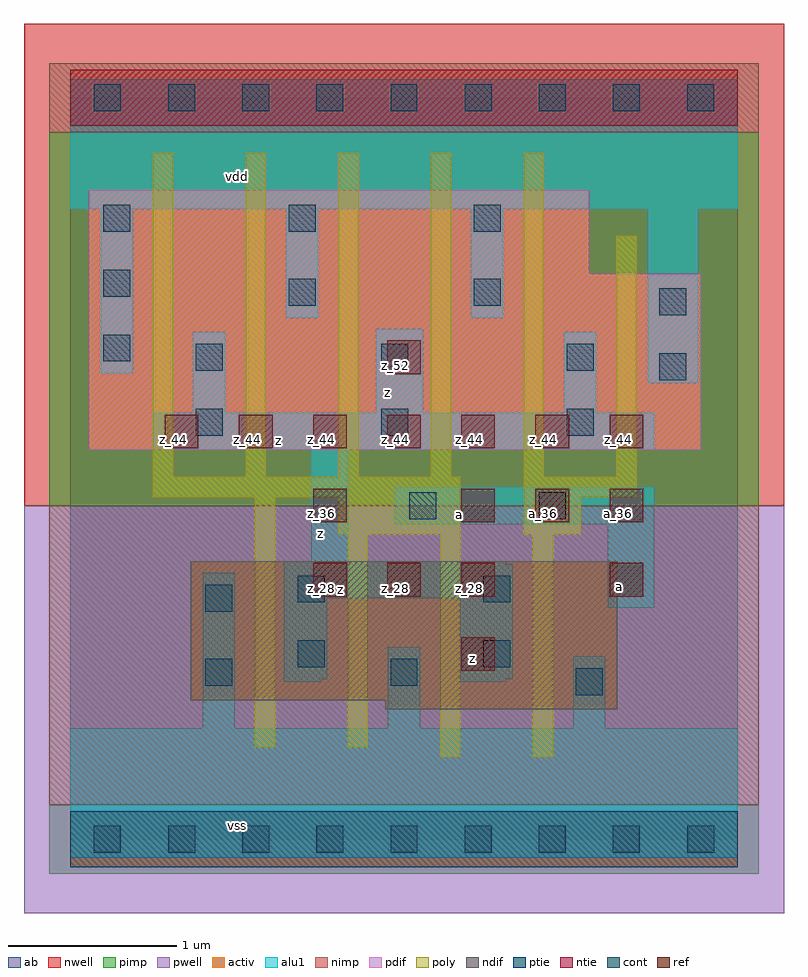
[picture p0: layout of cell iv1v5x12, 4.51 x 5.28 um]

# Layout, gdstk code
import gdstk
lib = gdstk.Library(unit=1e-6, precision=2.5e-09)
def R(c, l, rs):  # rectangles x0, y0, x1, y1
    for r in rs: c.add(gdstk.rectangle(r[:2], r[2:], *l))
def A(c, l, x, y, w, h, nx, ny, dx, dy):  # array of equal rectangles
    R(c, l, [(x+i*dx, y+j*dy, x+i*dx+w, y+j*dy+h) for i in range(nx) for j in range(ny)])
ndif = (3, 0)
pdif = (4, 0)
ntie = (5, 0)
ptie = (6, 0)
ref = (24, 0)
cont = (25, 0)
pwell = (41, 0)
nwell = (42, 0)
activ = (43, 0)
pimp = (44, 0)
nimp = (45, 0)
poly = (46, 0)
alu1 = (49, 0)
ab = (63, 0)

iv1v5x12 = lib.new_cell('iv1v5x12')
R(iv1v5x12, ndif, [(1.87,0.77,3.245,0.825), (0.715,0.825,3.245,1.65)])
R(iv1v5x12, pdif, [(0.11,2.31,3.74,3.355), (0.11,3.355,3.08,3.85)])
R(iv1v5x12, ntie, [(0,4.235,3.96,4.565)])
R(iv1v5x12, ptie, [(0,-0.165,3.96,0.165)])
A(iv1v5x12, ref, 1.44, 1.44, 0.2, 0.2, 3, 1, 0.44, 0)
A(iv1v5x12, ref, 2.32, 1.88, 0.2, 0.2, 3, 1, 0.44, 0)
A(iv1v5x12, ref, 0.56, 2.32, 0.2, 0.2, 7, 1, 0.44, 0)
R(iv1v5x12, ref, [(2.32,1,2.52,1.2), (3.2,1.44,3.4,1.64), (1.44,1.88,1.64,2.08), (1.88,2.76,2.08,2.96)])
A(iv1v5x12, cont, 0.14, -0.08, 0.16, 0.16, 9, 2, 0.44, 4.4)
A(iv1v5x12, cont, 0.745, 2.395, 0.16, 0.16, 3, 2, 1.1, 0.385)
A(iv1v5x12, cont, 0.195, 3.605, 0.16, 0.16, 3, 1, 1.1, 0)
R(iv1v5x12, cont, [(3,0.855,3.16,1.015), (0.8,0.91,0.96,1.07), (1.9,0.91,2.06,1.07), (1.35,1.02,1.51,1.18), (2.45,1.02,2.61,1.18), (0.8,1.35,0.96,1.51), (1.35,1.405,1.51,1.565), (2.45,1.405,2.61,1.565), (2.01,1.9,2.17,2.06), (2.78,1.9,2.94,2.06), (3.495,2.725,3.655,2.885), (0.195,2.835,0.355,2.995), (3.495,3.11,3.655,3.27), (1.295,3.165,1.455,3.325), (2.395,3.165,2.555,3.325), (0.195,3.22,0.355,3.38)])
R(iv1v5x12, pwell, [(-0.275,-0.44,4.235,1.98)])
R(iv1v5x12, nwell, [(-0.275,1.98,4.235,4.84)])
R(iv1v5x12, activ, [(0,-0.165,3.96,0.165), (1.87,0.77,3.245,0.825), (0.715,0.825,3.245,1.65), (0.11,2.31,3.74,3.355), (0.11,3.355,3.08,3.85), (0,4.235,3.96,4.565)])
R(iv1v5x12, pimp, [(-0.125,-0.205,4.085,0.205), (-0.125,1.98,4.085,4.195)])
R(iv1v5x12, nimp, [(-0.125,0.205,4.085,1.98), (-0.125,4.195,4.085,4.605)])
A(iv1v5x12, poly, 0.49, 2.15, 0.12, 1.925, 5, 1, 0.55, 0)
R(iv1v5x12, poly, [(2.195,0.49,2.315,1.81), (2.745,0.49,2.865,1.81), (1.095,0.545,1.215,2.03), (1.645,0.545,1.765,1.81), (1.59,1.81,2.315,2.03), (2.69,1.81,3.03,2.03), (0.49,2.03,2.315,2.15), (2.69,2.03,3.36,2.15), (3.24,2.15,3.36,3.58)])
R(iv1v5x12, alu1, [(0,-0.11,3.96,0.66), (0.785,0.66,0.975,1.58), (1.885,0.66,2.075,1.14), (2.985,0.66,3.175,1.085), (1.265,0.935,1.485,0.95), (2.31,0.935,2.585,0.95), (1.265,0.95,1.525,1.43), (2.31,0.95,2.625,1.43), (3.19,1.375,3.465,1.87), (1.265,1.43,2.625,1.635), (1.265,1.635,2.585,1.65), (1.43,1.65,1.65,2.31), (1.925,1.87,3.465,2.09), (0.495,2.31,3.465,2.53), (0.73,2.53,0.92,3.01), (1.815,2.53,2.09,3.025), (2.93,2.53,3.12,3.01), (3.425,2.71,3.725,3.74), (0.18,2.765,0.37,3.74), (1.28,3.095,1.47,3.74), (2.38,3.095,2.57,3.74), (0,3.74,3.96,4.51)])
R(iv1v5x12, ab, [(0,0,3.96,4.4)])
iv1v5x12.add(gdstk.Label('vss', (0.99,0.0825), layer=49, texttype=0))
iv1v5x12.add(gdstk.Label('a', (3.2575,1.4975), layer=49, texttype=0))
iv1v5x12.add(gdstk.Label('z', (2.3875,1.07), layer=49, texttype=0))
iv1v5x12.add(gdstk.Label('z', (1.605,1.48), layer=49, texttype=0))
iv1v5x12.add(gdstk.Label('a', (2.31,1.925), layer=49, texttype=0))
iv1v5x12.add(gdstk.Label('z', (1.485,1.815), layer=49, texttype=0))
iv1v5x12.add(gdstk.Label('z', (1.2375,2.365), layer=49, texttype=0))
iv1v5x12.add(gdstk.Label('z', (1.8825,2.6525), layer=49, texttype=0))
iv1v5x12.add(gdstk.Label('vdd', (0.99,3.9325), layer=49, texttype=0))
iv1v5x12.add(gdstk.Label('z_44', (0.61,2.37), layer=24, texttype=0))
iv1v5x12.add(gdstk.Label('z_44', (1.05,2.37), layer=24, texttype=0))
iv1v5x12.add(gdstk.Label('z_28', (1.49,1.49), layer=24, texttype=0))
iv1v5x12.add(gdstk.Label('z_36', (1.49,1.93), layer=24, texttype=0))
iv1v5x12.add(gdstk.Label('z_44', (1.49,2.37), layer=24, texttype=0))
iv1v5x12.add(gdstk.Label('z_28', (1.93,1.49), layer=24, texttype=0))
iv1v5x12.add(gdstk.Label('z_44', (1.93,2.37), layer=24, texttype=0))
iv1v5x12.add(gdstk.Label('z_52', (1.93,2.81), layer=24, texttype=0))
iv1v5x12.add(gdstk.Label('z_20', (2.37,1.05), layer=24, texttype=0))
iv1v5x12.add(gdstk.Label('z_28', (2.37,1.49), layer=24, texttype=0))
iv1v5x12.add(gdstk.Label('a_36', (2.37,1.93), layer=24, texttype=0))
iv1v5x12.add(gdstk.Label('z_44', (2.37,2.37), layer=24, texttype=0))
iv1v5x12.add(gdstk.Label('a_36', (2.81,1.93), layer=24, texttype=0))
iv1v5x12.add(gdstk.Label('z_44', (2.81,2.37), layer=24, texttype=0))
iv1v5x12.add(gdstk.Label('a_28', (3.25,1.49), layer=24, texttype=0))
iv1v5x12.add(gdstk.Label('a_36', (3.25,1.93), layer=24, texttype=0))
iv1v5x12.add(gdstk.Label('z_44', (3.25,2.37), layer=24, texttype=0))

lib.write_gds('iv1v5x12.gds')
